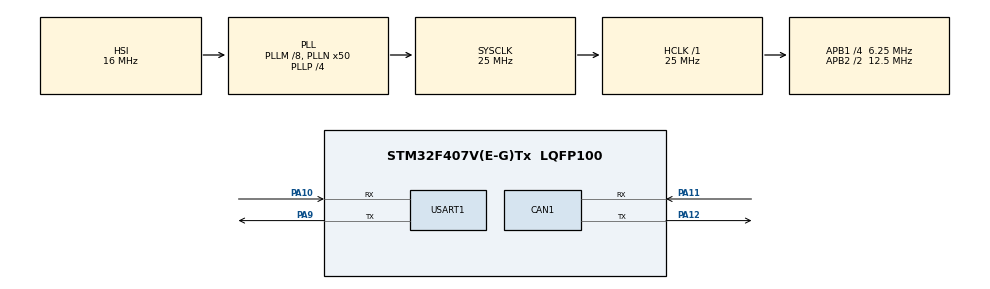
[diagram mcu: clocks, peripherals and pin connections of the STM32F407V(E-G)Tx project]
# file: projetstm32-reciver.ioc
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Mcu.Family=STM32F4
Mcu.Name=STM32F407V(E-G)Tx
Mcu.Package=LQFP100
NVIC.PriorityGroup=NVIC_PRIORITYGROUP_0
PA10.Mode=Asynchronous
PA10.Signal=USART1_RX
PA11.Mode=CAN_Activate
PA11.Signal=CAN1_RX
PA12.Mode=CAN_Activate
PA12.Signal=CAN1_TX
PA13.Mode=Serial_Wire
PA13.Signal=SYS_JTMS-SWDIO
PA14.Mode=Serial_Wire
PA14.Signal=SYS_JTCK-SWCLK
PA9.Mode=Asynchronous
PA9.Signal=USART1_TX
PH0-OSC_IN.Mode=HSE-External-Oscillator
PH0-OSC_IN.Signal=RCC_OSC_IN
PH1-OSC_OUT.Mode=HSE-External-Oscillator
PH1-OSC_OUT.Signal=RCC_OSC_OUT
ProjectManager.HeapSize=0x200
ProjectManager.StackSize=0x400
ProjectManager.TargetToolchain=STM32CubeIDE
RCC.48MHZClocksFreq_Value=14285714.285714285
RCC.AHBFreq_Value=25000000
RCC.APB1CLKDivider=RCC_HCLK_DIV4
RCC.APB1Freq_Value=6250000
RCC.APB1TimFreq_Value=12500000
RCC.APB2CLKDivider=RCC_HCLK_DIV2
RCC.APB2Freq_Value=12500000
RCC.APB2TimFreq_Value=25000000
RCC.CortexFreq_Value=25000000
RCC.HCLKFreq_Value=25000000
RCC.HSE_VALUE=8000000
RCC.HSI_VALUE=16000000
RCC.LSE_VALUE=32768
RCC.PLLM=8
RCC.PLLN=50
RCC.PLLP=RCC_PLLP_DIV4
RCC.PLLQ=7
RCC.SYSCLKFreq_VALUE=25000000
RCC.SYSCLKSource=RCC_SYSCLKSOURCE_PLLCLK
RCC.VCOOutputFreq_Value=100000000
USART1.VirtualMode=VM_ASYNC
board=STM32F407G-DISC1

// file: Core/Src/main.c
/* USER CODE BEGIN Header */
/**
  ******************************************************************************
  * @file           : main.c
  * @brief          : Main program body
  ******************************************************************************
  * @attention
  *
  * Copyright (c) 2024 STMicroelectronics.
  * All rights reserved.
  *
  * This software is licensed under terms that can be found in the LICENSE file
  * in the root directory of this software component.
  * If no LICENSE file comes with this software, it is provided AS-IS.
  *
  ******************************************************************************
  */
/* USER CODE END Header */
#include "main.h"

/* USER CODE BEGIN PD */
uint8_t ID_soc = 0x90;
uint8_t ID_volt = 0x91;
uint8_t ID_temp = 0x92;
uint8_t ID_mos = 0x93;
uint8_t ID_cell_volt = 0x94;
uint8_t ID_status = 0x95;
uint8_t ID_cell_temp= 0x96;
uint8_t ID_cell_balance= 0x97;
uint8_t ID_failure= 0x98;

uint8_t IDR_soc = 0x10;
uint8_t IDR_volt = 0x11;
uint8_t IDR_temp = 0x12;
uint8_t IDR_mos = 0x13;
uint8_t IDR_cell_volt = 0x14;
uint8_t IDR_status = 0x15;
uint8_t IDR_cell_temp= 0x16;
uint8_t IDR_cell_balance= 0x17;
uint8_t IDR_failure= 0x18;

uint8_t select =0;
uint8_t count1 =0;
uint8_t count2 =0;

uint8_t RxData1[3][8];
uint8_t RxData2[16][8];
uint8_t RxBuffer[8];
uint8_t RxData[8];
uint8_t TxData[8] = {0x00, 0x00, 0x00, 0x00, 0x00, 0x00, 0x00, 0x00};
CAN_RxHeaderTypeDef RxHeader;
CAN_TxHeaderTypeDef TxHeader;
CAN_FilterTypeDef sFilterConfig;
uint32_t TxMailbox;

/* USER CODE END PD */

CAN_HandleTypeDef hcan1;

UART_HandleTypeDef huart1;

void SystemClock_Config(void);
static void MX_GPIO_Init(void);
static void MX_CAN1_Init(void);
static void MX_USART1_UART_Init(void);
void sendrequest(uint8_t *RxBuffer, CAN_HandleTypeDef *hcan);
void SplitAndSendData(UART_HandleTypeDef *huart);

int main(void)
{

  /* MCU Configuration--------------------------------------------------------*/

  /* Reset of all peripherals, Initializes the Flash interface and the Systick. */
  HAL_Init();

  /* Configure the system clock */
  SystemClock_Config();

  /* Initialize all configured peripherals */
  MX_GPIO_Init();
  MX_CAN1_Init();
  MX_USART1_UART_Init();
  /* USER CODE BEGIN 2 */
  TxHeader.DLC = 8;
  TxHeader.IDE = CAN_ID_STD;
  TxHeader.RTR = CAN_RTR_REMOTE;

  sFilterConfig.FilterBank = 0;
  sFilterConfig.FilterMode = CAN_FILTERMODE_IDMASK;
  sFilterConfig.FilterScale = CAN_FILTERSCALE_16BIT;
  sFilterConfig.FilterIdHigh = 0x90<< 5;
  sFilterConfig.FilterIdLow =  0x90 << 5; ;
  sFilterConfig.FilterMaskIdHigh =0xF0<< 5;
  sFilterConfig.FilterMaskIdLow = 0xF0<< 5 ;
  sFilterConfig.FilterFIFOAssignment = CAN_FILTER_FIFO0;
  sFilterConfig.FilterActivation = ENABLE;

  HAL_CAN_ConfigFilter(&hcan1, &sFilterConfig);

  HAL_CAN_ActivateNotification(&hcan1,CAN_IT_RX_FIFO0_MSG_PENDING );

  HAL_CAN_Start(&hcan1);

  HAL_CAN_AddTxMessage(&hcan1, &TxHeader, TxData, &TxMailbox) ;
  /* USER CODE END 2 */

  /* Infinite loop */
  while (1)
  {

    /* USER CODE BEGIN 3 */
	  // send requete
	   sendrequest(RxBuffer,&hcan1);
	   SplitAndSendData(&huart1);

  /* USER CODE END 3 */
}

}

void SystemClock_Config(void)
{
  RCC_OscInitTypeDef RCC_OscInitStruct = {0};
  RCC_ClkInitTypeDef RCC_ClkInitStruct = {0};

  /** Configure the main internal regulator output voltage
  */
  __HAL_RCC_PWR_CLK_ENABLE();
  __HAL_PWR_VOLTAGESCALING_CONFIG(PWR_REGULATOR_VOLTAGE_SCALE1);

  /** Initializes the RCC Oscillators according to the specified parameters
  * in the RCC_OscInitTypeDef structure.
  */
  RCC_OscInitStruct.OscillatorType = RCC_OSCILLATORTYPE_HSI;
  RCC_OscInitStruct.HSIState = RCC_HSI_ON;
  RCC_OscInitStruct.HSICalibrationValue = RCC_HSICALIBRATION_DEFAULT;
  RCC_OscInitStruct.PLL.PLLState = RCC_PLL_ON;
  RCC_OscInitStruct.PLL.PLLSource = RCC_PLLSOURCE_HSI;
  RCC_OscInitStruct.PLL.PLLM = 8;
  RCC_OscInitStruct.PLL.PLLN = 50;
  RCC_OscInitStruct.PLL.PLLP = RCC_PLLP_DIV4;
  RCC_OscInitStruct.PLL.PLLQ = 7;
  if (HAL_RCC_OscConfig(&RCC_OscInitStruct) != HAL_OK)
  {
    Error_Handler();
  }

  /** Initializes the CPU, AHB and APB buses clocks
  */
  RCC_ClkInitStruct.ClockType = RCC_CLOCKTYPE_HCLK|RCC_CLOCKTYPE_SYSCLK
                              |RCC_CLOCKTYPE_PCLK1|RCC_CLOCKTYPE_PCLK2;
  RCC_ClkInitStruct.SYSCLKSource = RCC_SYSCLKSOURCE_PLLCLK;
  RCC_ClkInitStruct.AHBCLKDivider = RCC_SYSCLK_DIV1;
  RCC_ClkInitStruct.APB1CLKDivider = RCC_HCLK_DIV4;
  RCC_ClkInitStruct.APB2CLKDivider = RCC_HCLK_DIV2;

  if (HAL_RCC_ClockConfig(&RCC_ClkInitStruct, FLASH_LATENCY_0) != HAL_OK)
  {
    Error_Handler();
  }
}

static void MX_CAN1_Init(void)
{

  hcan1.Instance = CAN1;
  hcan1.Init.Prescaler = 16;
  hcan1.Init.Mode = CAN_MODE_NORMAL;
  hcan1.Init.SyncJumpWidth = CAN_SJW_1TQ;
  hcan1.Init.TimeSeg1 = CAN_BS1_1TQ;
  hcan1.Init.TimeSeg2 = CAN_BS2_1TQ;
  hcan1.Init.TimeTriggeredMode = DISABLE;
  hcan1.Init.AutoBusOff = DISABLE;
  hcan1.Init.AutoWakeUp = DISABLE;
  hcan1.Init.AutoRetransmission = DISABLE;
  hcan1.Init.ReceiveFifoLocked = DISABLE;
  hcan1.Init.TransmitFifoPriority = DISABLE;
  if (HAL_CAN_Init(&hcan1) != HAL_OK)
  {
    Error_Handler();
  }

}

static void MX_USART1_UART_Init(void)
{

  huart1.Instance = USART1;
  huart1.Init.BaudRate = 115200;
  huart1.Init.WordLength = UART_WORDLENGTH_8B;
  huart1.Init.StopBits = UART_STOPBITS_1;
  huart1.Init.Parity = UART_PARITY_NONE;
  huart1.Init.Mode = UART_MODE_TX_RX;
  huart1.Init.HwFlowCtl = UART_HWCONTROL_NONE;
  huart1.Init.OverSampling = UART_OVERSAMPLING_16;
  if (HAL_UART_Init(&huart1) != HAL_OK)
  {
    Error_Handler();
  }

}

static void MX_GPIO_Init(void)
{

  /* GPIO Ports Clock Enable */
  __HAL_RCC_GPIOH_CLK_ENABLE();
  __HAL_RCC_GPIOA_CLK_ENABLE();

}

/* USER CODE BEGIN 4 */
void sendrequest(uint8_t *RxBuffer, CAN_HandleTypeDef *hcan) {
    if (strcmp((char *)RxBuffer, "soc") == 0) {
        TxHeader.StdId = IDR_soc;
    } else if (strcmp((char *)RxBuffer, "volt") == 0) {
        TxHeader.StdId = IDR_volt;
    } else if (strcmp((char *)RxBuffer, "temp") == 0) {
        TxHeader.StdId = IDR_temp;
    } else if (strcmp((char *)RxBuffer, "mos") == 0) {
        TxHeader.StdId = IDR_mos;
    } else if (strcmp((char *)RxBuffer, "cell_volt") == 0) {
        TxHeader.StdId = IDR_cell_volt;
    } else if (strcmp((char *)RxBuffer, "status") == 0) {
        TxHeader.StdId = IDR_status;
    } else if (strcmp((char *)RxBuffer, "cell_temp") == 0) {
        TxHeader.StdId = IDR_cell_temp;
    } else if (strcmp((char *)RxBuffer, "cell_balance") == 0) {
        TxHeader.StdId = IDR_cell_balance;
    } else if (strcmp((char *)RxBuffer, "failure") == 0) {
        TxHeader.StdId = IDR_failure;
    } else {
        return;
    }

    HAL_CAN_AddTxMessage(hcan, &TxHeader, TxData, &TxMailbox);

    HAL_Delay(500);

    // Clear RxBuffer
    memset(RxBuffer, 0x00, sizeof(RxBuffer));
}

void SplitAndSendData(UART_HandleTypeDef *huart) {

    		  if (select ==1) {
    		      uint16_t cumulative_voltage = (RxData[0] << 8) | RxData[1];
    		      float cumulative_voltage_real = cumulative_voltage * 0.1;

    		      uint16_t gather_voltage = (RxData[2] << 8) | RxData[3];
    		      float gather_voltage_real = gather_voltage * 0.1;

    		      uint16_t current_raw = (RxData[4] << 8) | RxData[5];
    		      float current_real = (current_raw - 30000) * 0.1;

    		      uint16_t soc = (RxData[6] << 8) | RxData[7];
    		      float soc_real = soc * 0.1;

    		      char data_string[100];
    		      sprintf(data_string,
    		              "Cumulative Voltage: %d.%d V, Gather Voltage: %d.%d V, Current: %d.%d A, SOC: %d.%d%%\n ",
    		              (int)cumulative_voltage_real, (int)(cumulative_voltage_real * 10) % 10,
    		              (int)gather_voltage_real, (int)(gather_voltage_real * 10) % 10,
    		              (int)current_real, (int)(current_real * 10) % 10,
    		              (int)soc_real, (int)(soc_real * 10) % 10);

    		      HAL_UART_Transmit(&huart, (uint8_t*)data_string, strlen(data_string), HAL_MAX_DELAY);
    		      for (int i = 0; i < sizeof(RxBuffer); i++) {
    		          RxBuffer[i] = 0;
    		      }

    		  }
    		  else if (select == 2)
    		  {
    			  	  	  	  	  uint16_t max_cell_voltage = (RxData[0] << 8) | RxData[1];
    						      uint8_t max_voltage_cell_no = RxData[2];
    						      uint16_t min_cell_voltage = (RxData[3] << 8) | RxData[4];
    						      uint8_t min_voltage_cell_no = RxData[5];
    						      char data_string[100];
    						      sprintf(data_string,
    						              "Max Cell Voltage: %d.%d V, Max Voltage Cell No: %d, Min Cell Voltage: %d.%d V, Min Voltage Cell No: %d\n",
    						              max_cell_voltage / 10, (max_cell_voltage % 10),
    						              max_voltage_cell_no,
    						              min_cell_voltage / 10, (min_cell_voltage % 10),
    						              min_voltage_cell_no);

    						      	      	  HAL_UART_Transmit(&huart, (uint8_t*)data_string, strlen(data_string), HAL_MAX_DELAY);

    		  }
    		  else if (select == 3)
    		  {

    			  			     int8_t max_temp_raw = RxData[0];
    			  			     float max_temperature = max_temp_raw - 40.0;
    			  			     uint8_t max_temp_cell_no = RxData[1];
    			  			     int8_t min_temp_raw = RxData[2];
    			  			     float min_temperature = min_temp_raw - 40.0;
    			  			     uint8_t min_temp_cell_no = RxData[3];
    			  			   char data_string[100];
    			  			    sprintf(data_string,
    			  			            "Max Temperature: %d °C, Max Temp Cell No: %d, Min Temperature: %d °C, Min Temp Cell No: %d\n",
    			  			            max_temperature, max_temp_cell_no, min_temperature, min_temp_cell_no);
    			  			    HAL_UART_Transmit(&huart, (uint8_t*)data_string, strlen(data_string), HAL_MAX_DELAY);

    		  }
    		  else if (select == 4)
    		  {
    			    uint8_t state = RxData[0];
    			    uint8_t charge_mos_state = RxData[1];
    			    uint8_t discharge_mos_state = RxData[2];
    			    uint8_t bms_life = RxData[3];
    			    uint32_t remaining_capacity = (RxData[4] << 24) | (RxData[5] << 16) | (RxData[6] << 8) | RxData[7];
    			    char data_string[100];
    			    sprintf(data_string,
    			            "State: %d, Charge MOS State: %d, Discharge MOS State: %d, BMS Life: %d cycles, Remaining Capacity: %lu mAh\n",
    			            state, charge_mos_state, discharge_mos_state, bms_life, remaining_capacity);
    			    HAL_UART_Transmit(&huart, (uint8_t*)data_string, strlen(data_string), HAL_MAX_DELAY);

    		  }
    		  else if (select == 6)
    		  {
    			     uint8_t battery_string_count = RxData[0];
    			     uint8_t temperature_count = RxData[1];
    			     uint8_t charger_status = RxData[2];
    			     uint8_t load_status = RxData[3];
    			     uint8_t di_do_state = RxData[4];
    			     uint8_t di1_state = (di_do_state >> 0) & 0x01; // Bit 0
    			     uint8_t di2_state = (di_do_state >> 1) & 0x01; // Bit 1
    			     uint8_t di3_state = (di_do_state >> 2) & 0x01; // Bit 2
    			     uint8_t di4_state = (di_do_state >> 3) & 0x01; // Bit 3
    			     uint8_t do1_state = (di_do_state >> 4) & 0x01; // Bit 4
    			     uint8_t do2_state = (di_do_state >> 5) & 0x01; // Bit 5
    			     uint8_t do3_state = (di_do_state >> 6) & 0x01; // Bit 6
    			     uint8_t do4_state = (di_do_state >> 7) & 0x01; // Bit 7
    			     char data_string[200];
    			      sprintf(data_string,
    			              "Battery String Count: %d\n"
    			              "Temperature Count: %d\n"
    			              "Charger Status: %d\n"
    			              "Load Status: %d\n"
    			              "DI1 State: %d, DI2 State: %d, DI3 State: %d, DI4 State: %d\n"
    			              "DO1 State: %d, DO2 State: %d, DO3 State: %d, DO4 State: %d\n",
    			              battery_string_count, temperature_count, charger_status, load_status,
    			              di1_state, di2_state, di3_state, di4_state,
    			              do1_state, do2_state, do3_state, do4_state);
    			      	  	  HAL_UART_Transmit(&huart, (uint8_t*)data_string, strlen(data_string), HAL_MAX_DELAY);

    		  }else if (select == 5)
    		  {
    			    uint16_t cell_voltages[48] = {0};
    			    int cell_index = 0;
    			    for (int frame = 0; frame < 16; frame++) {
    			        for (int i = 0; i < 3; i++) {
    			            uint8_t high_byte = RxData1[frame][1 + (i * 2)];
    			            uint8_t low_byte = RxData1[frame][2 + (i * 2)];
    			            cell_voltages[cell_index] = (high_byte << 8) | low_byte;
    			            cell_index++;
    			        }
    			    }
    			    char data_string[400];
    			    for (int i = 0; i < 48; i++) {
    			     sprintf(data_string, "Cell %d Voltage: %d mV\n", i + 1, cell_voltages[i]);
    			     HAL_UART_Transmit(&huart, (uint8_t*)data_string, strlen(data_string), HAL_MAX_DELAY);
    			    }

    		  }
    		  else if (select == 7)
    		  {

    			   int cell_temperatures[21];
    			    int temperature_index = 0;

    			    // Extraction des températures
    			    for (int frame = 0; frame < 3; frame++) {
    			        for (int i = 1; i <= 7; i++) {
    			            int raw_temp = RxData2[frame][i];
    			            cell_temperatures[temperature_index] = raw_temp - 40;  // Conversion en °C
    			            temperature_index++;
    			        }

    			    }
    			    char data_string[400];
    			  		    for (int i = 0; i < 21; i++) {
    			  		     sprintf(data_string, "Cell %d Temperature: %d °C\n", i + 1, cell_temperatures[i]);
    			  		     HAL_UART_Transmit(&huart, (uint8_t*)data_string, strlen(data_string), HAL_MAX_DELAY);
    			  		    }

    		  }
    		  else if (select== 8)
    		  {	uint8_t cell_state [48]={0};
    			  for (int i = 1; i <= 48; i++) {
    			    int byte_index = (i - 1) / 8;               // Trouve l'octet contenant le bit
    			    int bit_index = (i - 1) % 8;                // Trouve la position du bit dans l'octet
    			    cell_state[i]=(RxData[byte_index] >> bit_index) & 0x01;

    		  }
    			  char data_string[400];
    			  		  		    for (int i = 0; i < 48; i++) {
    			  		  		     sprintf(data_string,"Cell %d Balance State: %d\n", i, cell_state[i]);
    			  		  		     HAL_UART_Transmit(&huart, (uint8_t*)data_string, strlen(data_string), HAL_MAX_DELAY);
    			  		  		    }
    		  }
    		  else if (strcmp(RxBuffer, "failuer") == 0)
    		  {
    			  char error_message[256];  // Buffer pour le message d'erreur
    			      int error_detected = 0;   // Indicateur d'erreur

    			      // On commence par vider le message d'erreur
    			      memset(error_message, 0, sizeof(error_message));

    			      // Vérification des bits dans chaque octet
    			      // Byte 0
    			      if (RxData[0] & 0x01) { strcat(error_message, "Cell_H1 Error; "); error_detected = 1; }
    			      if (RxData[0] & 0x02) { strcat(error_message, "Cell_H2 Error; "); error_detected = 1; }
    			      if (RxData[0] & 0x04) { strcat(error_message, "Cell_L1 Error; "); error_detected = 1; }
    			      if (RxData[0] & 0x08) { strcat(error_message, "Cell_L2 Error; "); error_detected = 1; }
    			      if (RxData[0] & 0x10) { strcat(error_message, "Sum_H1 Error; "); error_detected = 1; }
    			      if (RxData[0] & 0x20) { strcat(error_message, "Sum_H2 Error; "); error_detected = 1; }
    			      if (RxData[0] & 0x40) { strcat(error_message, "Sum_L1 Error; "); error_detected = 1; }
    			      if (RxData[0] & 0x80) { strcat(error_message, "Sum_L2 Error; "); error_detected = 1; }

    			      // Byte 1
    			      if (RxData[1] & 0x01) { strcat(error_message, "C_temp_H1 Error; "); error_detected = 1; }
    			      if (RxData[1] & 0x02) { strcat(error_message, "C_temp_H2 Error; "); error_detected = 1; }
    			      if (RxData[1] & 0x04) { strcat(error_message, "C_temp_L1 Error; "); error_detected = 1; }
    			      if (RxData[1] & 0x08) { strcat(error_message, "C_temp_L2 Error; "); error_detected = 1; }
    			      if (RxData[1] & 0x10) { strcat(error_message, "DC_temp_H1 Error; "); error_detected = 1; }
    			      if (RxData[1] & 0x20) { strcat(error_message, "DC_temp_H2 Error; "); error_detected = 1; }
    			      if (RxData[1] & 0x40) { strcat(error_message, "DC_temp_L1 Error; "); error_detected = 1; }
    			      if (RxData[1] & 0x80) { strcat(error_message, "DC_temp_L2 Error; "); error_detected = 1; }

    			      // Byte 2
    			      if (RxData[2] & 0x01) { strcat(error_message, "C_OC_1 Error; "); error_detected = 1; }
    			      if (RxData[2] & 0x02) { strcat(error_message, "C_OC_2 Error; "); error_detected = 1; }
    			      if (RxData[2] & 0x04) { strcat(error_message, "DC_OC_1 Error; "); error_detected = 1; }
    			      if (RxData[2] & 0x08) { strcat(error_message, "DC_OC_2 Error; "); error_detected = 1; }
    			      if (RxData[2] & 0x10) { strcat(error_message, "SOC_H1 Error; "); error_detected = 1; }
    			      if (RxData[2] & 0x20) { strcat(error_message, "SOC_H2 Error; "); error_detected = 1; }
    			      if (RxData[2] & 0x40) { strcat(error_message, "SOC_L1 Error; "); error_detected = 1; }
    			      if (RxData[2] & 0x80) { strcat(error_message, "SOC_L2 Error; "); error_detected = 1; }

    			      // Byte 3
    			      if (RxData[3] & 0x01) { strcat(error_message, "DI_VOLT_1 Error; "); error_detected = 1; }
    			      if (RxData[3] & 0x02) { strcat(error_message, "DI_VOLT_2 Error; "); error_detected = 1; }
    			      if (RxData[3] & 0x04) { strcat(error_message, "DDI_TEMP_1 Error; "); error_detected = 1; }
    			      if (RxData[3] & 0x08) { strcat(error_message, "DI_TEMP_2 Error; "); error_detected = 1; }

    			      // Byte 4
    			      if (RxData[4] & 0x01) { strcat(error_message, "C_mos_TEMP_H Error; "); error_detected = 1; }
    			      if (RxData[4] & 0x02) { strcat(error_message, "DC_mos_TEMP_H Error; "); error_detected = 1; }
    			      if (RxData[4] & 0x04) { strcat(error_message, "C_mos_TEMP_SEN Error; "); error_detected = 1; }
    			      if (RxData[4] & 0x08) { strcat(error_message, "DC_mos_TEMP_SEN Error; "); error_detected = 1; }
    			      if (RxData[4] & 0x10) { strcat(error_message, "C_mos_ADH Error; "); error_detected = 1; }
    			      if (RxData[4] & 0x20) { strcat(error_message, "DC_mos_ADH Error; "); error_detected = 1; }
    			      if (RxData[4] & 0x40) { strcat(error_message, "C_mos_OP_C Error; "); error_detected = 1; }
    			      if (RxData[4] & 0x80) { strcat(error_message, "DC_mos_OP_C Error; "); error_detected = 1; }

    			      // Byte 5
    			      if (RxData[5] & 0x01) { strcat(error_message, "AFE_COLL Error; "); error_detected = 1; }
    			      if (RxData[5] & 0x02) { strcat(error_message, "VOLT_COLL Error; "); error_detected = 1; }
    			      if (RxData[5] & 0x04) { strcat(error_message, "CELL_TEMP_SEN Error; "); error_detected = 1; }
    			      if (RxData[5] & 0x08) { strcat(error_message, "EEPROM Error; "); error_detected = 1; }
    			      if (RxData[5] & 0x10) { strcat(error_message, "RTC Error; "); error_detected = 1; }
    			      if (RxData[5] & 0x20) { strcat(error_message, "PRECH Error; "); error_detected = 1; }
    			      if (RxData[5] & 0x40) { strcat(error_message, "COMM Error; "); error_detected = 1; }
    			      if (RxData[5] & 0x80) { strcat(error_message, "INTER_COMM Error; "); error_detected = 1; }

    			      // Byte 6
    			      if (RxData[6] & 0x01) { strcat(error_message, "CU_MOD Error; "); error_detected = 1; }
    			      if (RxData[6] & 0x02) { strcat(error_message, "SUL_VOLT_DET Error; "); error_detected = 1; }
    			      if (RxData[6] & 0x04) { strcat(error_message, "SHORT_CIR Error; "); error_detected = 1; }
    			      if (RxData[6] & 0x08) { strcat(error_message, "LOW_VOLT Error; "); error_detected = 1; }

    			      // Si une erreur a été détectée, envoyer le message
    			      if (error_detected) {
    			    	  HAL_UART_Transmit(&huart, (uint8_t*)error_message, strlen(error_message), 100);
    			      }
    			      else {
    			    	  HAL_UART_Transmit(&huart, "No Errors Detected.", 100, HAL_MAX_DELAY);
    			      }

    		  }

    	  }

void HAL_CAN_RxFifo0MsgPendingCallback(CAN_HandleTypeDef *hcan) {
    if (HAL_CAN_GetRxMessage(hcan, CAN_RX_FIFO0, &RxHeader, RxData) != HAL_OK) {
    	 if (RxHeader.StdId == ID_soc) {
    						select = 1;
    					}
    	        else if (RxHeader.StdId == ID_volt) {
    						select = 2 ;
    					}
    	        else if (RxHeader.StdId == ID_temp) {
    	                	select = 3 ;
    	                }
    	        else if (RxHeader.StdId == ID_mos) {
    	                	select = 4 ;
    	                }
    	        else if (RxHeader.StdId == ID_cell_volt) {

    	                	select = 5 ;
    	                	memcpy(RxData1[count1], RxData, RxHeader.DLC);
    	                	            count1++;
    	                	            if (count1 == 15) {
    	                	                count1 = 0; // Wrap around
    	                	            }

    	                }
    	        else if (RxHeader.StdId == ID_status) {
    	                	select = 6 ;
    	                }
    	        else if (RxHeader.StdId == ID_cell_temp) {
    	                	select = 7 ;
    	                	memcpy(RxData2[count2], RxData, RxHeader.DLC);
    	                	            count2++;
    	                	            if (count2 == 2) {
    	                	                count2 = 0; // Wrap around
    	                	            }

    	                }
    	        else if (RxHeader.StdId == ID_cell_balance) {
    	                	select = 8 ;
    	                }
    	        else if (RxHeader.StdId == ID_failure) {
    	                	select = 9 ;
    	                }
    	        else {
    	        	select = 0 ;
    	        }

    }
}
void HAL_UART_RxCpltCallback(UART_HandleTypeDef *huart) {
    if (huart->Instance == USART1) {
        HAL_UART_Receive_IT(&huart1, RxBuffer, sizeof(RxBuffer));
    }
}
/* USER CODE END 4 */

void Error_Handler(void)
{
  __disable_irq();
  while (1)
  {
  }
}
